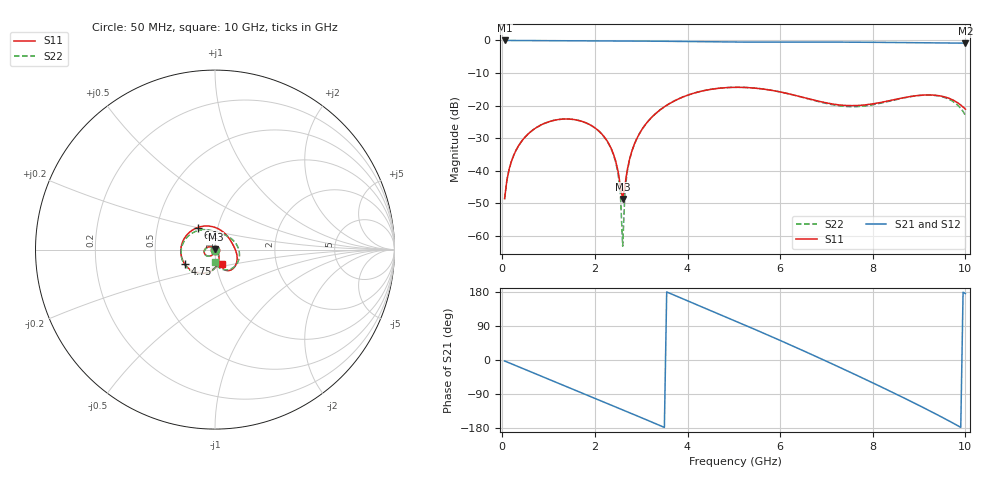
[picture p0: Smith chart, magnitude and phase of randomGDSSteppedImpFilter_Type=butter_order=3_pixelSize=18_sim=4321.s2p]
! freq	dB(S11)	phase(S11)	dB(S12)	phase(S12)
!  dB(S21)	phase(S21)	dB(S22)	phase(S22)
!S-par simulation data
#  GHz  S  DB  R 50
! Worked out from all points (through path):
!   200 points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, 50 MHz to 10 GHz, reference 50 ohm
!   highest |S21| = -0.01 dB at 50 MHz (marker M1); lowest = -0.8 dB at 10 GHz (marker M2)
!   group delay of S21, straight-line fit = 149 ps
!   lowest |S11| = -48.6 dB at 2.6 GHz (marker M3), VSWR 1.01, Z = 50.3 + j0.271 ohm
!   |S11| at or under -10 dB: start of sweep to end of sweep
!   |S22| runs from -63.1 to -14.4 dB; largest |S21 - S12| = 0
!   S11 on the Smith chart (normalised r, x): 50 MHz: 1.00, -0.01; 4.75 GHz: 0.70, -0.12; 6.1 GHz: 0.80, +0.20; 10 GHz: 1.06, -0.17
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0.05  -48.56 -83.9  -0.01 -2.6  -0.01 -2.6  -48.56 -83.9
0.2  -36.96 -99.1  -0.02 -10.1  -0.02 -10.1  -36.96 -98.9
0.55  -28.80 -118.8  -0.04 -27.8  -0.04 -27.8  -28.80 -118.2
1.1  -24.56 -147.5  -0.08 -55.5  -0.08 -55.5  -24.57 -146.1
1.75  -24.97 178.3  -0.11 -88.2  -0.11 -88.2  -24.99 -178.7
2.4  -34.82 136.7  -0.14 -121.2  -0.14 -121.2  -35.04 148.6
2.55  -44.62 101.8  -0.15 -128.9  -0.15 -128.9  -46.95 141.0
2.6  -48.59 46.4  -0.15 -131.4  -0.15 -131.4  -63.10 -84.6
2.65  -44.26 -7.5  -0.15 -134.0  -0.15 -134.0  -46.02 -44.0
2.75  -36.32 -36.1  -0.16 -139.1  -0.16 -139.1  -36.50 -49.1
3  -27.66 -57.9  -0.19 -152.0  -0.19 -152.0  -27.66 -61.8
3.4  -21.39 -81.5  -0.24 -172.7  -0.24 -172.7  -21.37 -82.1
4.05  -16.57 -116.8  -0.37 153.7  -0.37 153.7  -16.55 -114.8
4.75  -14.58 -154.4  -0.48 117.5  -0.48 117.5  -14.56 -149.8
5.05  -14.38 -170.7  -0.51 101.9  -0.51 101.9  -14.36 -164.6
6.1  -16.10 128.2  -0.51 46.3  -0.51 46.3  -16.10 143.8
6.7  -18.20 89.2  -0.50 13.4  -0.50 13.4  -18.29 114.9
7.45  -19.97 39.5  -0.53 -28.7  -0.53 -28.7  -20.27 77.5
8.35  -18.51 -6.7  -0.62 -80.9  -0.62 -80.9  -18.66 22.6
9.1  -16.75 -40.2  -0.73 -126.1  -0.73 -126.1  -16.78 -27.1
9.65  -17.77 -62.9  -0.79 -161.0  -0.79 -161.0  -18.07 -64.7
10  -21.08 -65.4  -0.83 175.4  -0.83 175.4  -22.96 -91.0
